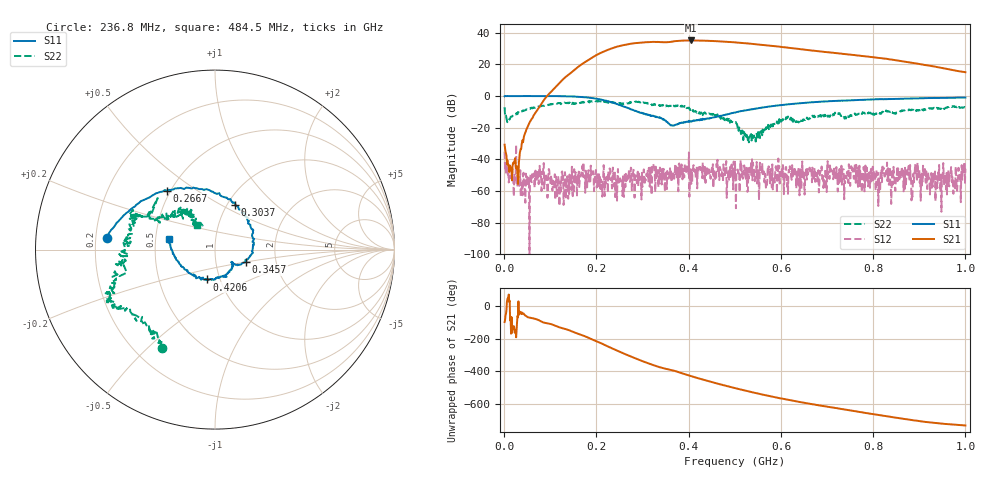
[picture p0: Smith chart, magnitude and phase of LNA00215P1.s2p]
! Created with skrf 1.9.0 (http://scikit-rf.org).
# Hz S RI R 50.0
!freq ReS11 ImS11 ReS21 ImS21 ReS12 ImS12 ReS22 ImS22
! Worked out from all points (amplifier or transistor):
!   1001 points, 1 MHz to 1 GHz, reference 50 ohm
!   highest |S21| = 35.1 dB at 404.6 MHz (marker M1)
!   |S21| within 3 dB of that: 257.6 MHz to 568 MHz (310.3 MHz wide, 75.2 % of centre)
!   unconditionally stable (mu >= 1): start of sweep to 85.43 MHz; 228.9 MHz to 400.2 MHz; 400.8 MHz to end of sweep (the widest 3 of 25)
!   at 166.8 MHz: K = 0.88, MSG = 35.0 dB, |S12| = -50.2 dB
!   at 500.5 MHz: K = 1.27, MAG = 34.4 dB, |S12| = -41.0 dB
!   at 1 GHz: K = 3.28, MAG = 22.4 dB, |S12| = -46.0 dB
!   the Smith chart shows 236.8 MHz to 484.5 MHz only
!   S11 on the Smith chart (normalised r, x): 236.8 MHz: 0.25, +0.05; 266.7 MHz: 0.48, +0.38; 303.7 MHz: 1.09, +0.59; 345.7 MHz: 1.40, -0.20; 420.6 MHz: 0.87, -0.30; 484.5 MHz: 0.59, +0.07
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1000000  0.9807 0.00575  -0.00386 -0.0287  -0.0145 0.00949  0.3053 0.3205
1.08892e8  0.5188 -0.8454  -0.8134 -1.542  0.00044 -0.00114  0.4269 -0.3673
1.67833e8  -0.2403 -0.8965  -9.973 -0.579  0.00497 0.00023  0.0305 -0.6361
2.07793e8  -0.6596 -0.4139  -15.97 15.67  0.000573 -0.00268  -0.1772 -0.6552
2.36764e8  -0.6004 0.0646  -4.631 33  0.00255 -0.000723  -0.2975 -0.5474
2.66734e8  -0.268 0.328  21.04 37.25  -0.00153 -0.00189  -0.4688 -0.3506
2.84716e8  -0.0482 0.3366  35.72 30.17  -0.00114 0.00292  -0.5901 -0.297
3.03697e8  0.1132 0.2483  46.82 15.82  -0.0033 -0.00117  -0.5651 -0.2277
3.34666e8  0.2104 0.00487  49.75 -10.51  0.000467 0.00125  -0.5162 -0.0447
3.45655e8  0.1733 -0.0684  46.79 -17.8  -0.00201 0.00456  -0.4793 0.0212
3.74626e8  0.0984 -0.0805  41.2 -35.87  0.000969 0.00544  -0.4507 0.1817
4.04596e8  0.021 -0.1576  21.11 -52.74  0.000477 0.00417  -0.311 0.1783
4.2058e8  -0.0433 -0.1663  8.137 -55.87  -0.00372 0.000447  -0.2249 0.2257
4.5055e8  -0.1806 -0.0954  -14.3 -53.17  0.00455 0.0027  -0.1583 0.2204
4.84516e8  -0.2575 0.0567  -33.39 -39.28  0.00208 0.000591  -0.0983 0.1354
5.005e8  -0.2572 0.1466  -39.13 -30.52  0.00255 -0.00855  -0.116 0.0941
5.39461e8  -0.1824 0.3363  -43.22 -8.929  0.00714 -0.00328  -0.0258 0.04
5.88412e8  0.0224 0.4926  -35.34 11.92  0.0046 -0.00324  -0.1249 -0.0838
6.67333e8  0.3964 0.4914  -13.55 23.6  -0.00124 -0.00141  -0.2101 -0.0232
7.53247e8  0.6737 0.2853  3.396 19.7  -0.00265 -0.005  -0.2439 0.0167
8.34166e8  0.7987 0.0248  10.51 10.05  0.000839 -0.00131  -0.3239 0.00066
1e9  0.7295 -0.5133  5.543 -1.022  0.00406 -0.00294  -0.3333 0.2831
